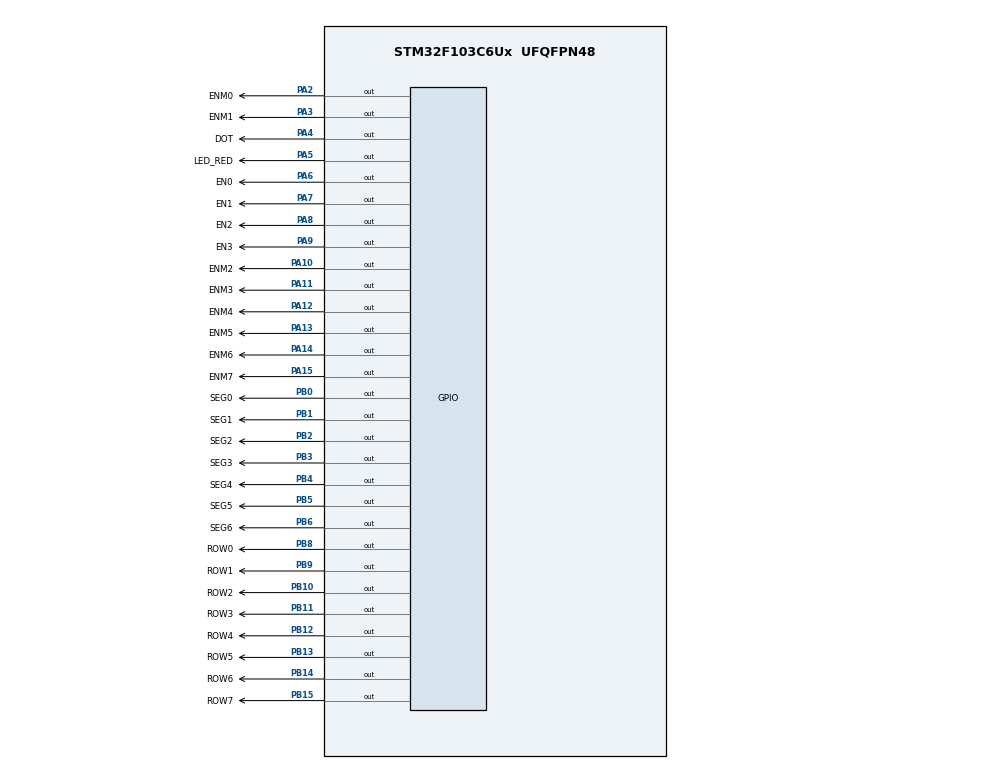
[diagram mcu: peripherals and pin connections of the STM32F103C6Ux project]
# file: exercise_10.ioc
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Mcu.Family=STM32F1
Mcu.Name=STM32F103C6Ux
Mcu.Package=UFQFPN48
NVIC.PriorityGroup=NVIC_PRIORITYGROUP_4
NVIC.TIM2_IRQn=true\:0\:0\:false\:false\:true\:true\:true
PA10.GPIO_Label=ENM2
PA10.Signal=GPIO_Output
PA11.GPIO_Label=ENM3
PA11.Signal=GPIO_Output
PA12.GPIO_Label=ENM4
PA12.Signal=GPIO_Output
PA13.GPIO_Label=ENM5
PA13.Signal=GPIO_Output
PA14.GPIO_Label=ENM6
PA14.Signal=GPIO_Output
PA15.GPIO_Label=ENM7
PA15.Signal=GPIO_Output
PA2.GPIO_Label=ENM0
PA2.Signal=GPIO_Output
PA3.GPIO_Label=ENM1
PA3.Signal=GPIO_Output
PA4.GPIO_Label=DOT
PA4.Signal=GPIO_Output
PA5.GPIO_Label=LED_RED
PA5.Signal=GPIO_Output
PA6.GPIO_Label=EN0
PA6.Signal=GPIO_Output
PA7.GPIO_Label=EN1
PA7.Signal=GPIO_Output
PA8.GPIO_Label=EN2
PA8.Signal=GPIO_Output
PA9.GPIO_Label=EN3
PA9.Signal=GPIO_Output
PB0.GPIO_Label=SEG0
PB0.Signal=GPIO_Output
PB1.GPIO_Label=SEG1
PB1.Signal=GPIO_Output
PB10.GPIO_Label=ROW2
PB10.Signal=GPIO_Output
PB11.GPIO_Label=ROW3
PB11.Signal=GPIO_Output
PB12.GPIO_Label=ROW4
PB12.Signal=GPIO_Output
PB13.GPIO_Label=ROW5
PB13.Signal=GPIO_Output
PB14.GPIO_Label=ROW6
PB14.Signal=GPIO_Output
PB15.GPIO_Label=ROW7
PB15.Signal=GPIO_Output
PB2.GPIO_Label=SEG2
PB2.Signal=GPIO_Output
PB3.GPIO_Label=SEG3
PB3.Signal=GPIO_Output
PB4.GPIO_Label=SEG4
PB4.Signal=GPIO_Output
PB5.GPIO_Label=SEG5
PB5.Signal=GPIO_Output
PB6.GPIO_Label=SEG6
PB6.Signal=GPIO_Output
PB8.GPIO_Label=ROW0
PB8.Signal=GPIO_Output
PB9.GPIO_Label=ROW1
PB9.Signal=GPIO_Output
ProjectManager.HeapSize=0x200
ProjectManager.StackSize=0x400
ProjectManager.TargetToolchain=STM32CubeIDE
RCC.APB1Freq_Value=8000000
RCC.APB2Freq_Value=8000000
TIM2.Period=9
TIM2.Prescaler=7999
VP_SYS_VS_ND.Mode=No_Debug
VP_TIM2_VS_ClockSourceINT.Mode=Internal
board=custom

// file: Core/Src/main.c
/* USER CODE BEGIN Header */
/**
  ******************************************************************************
  * @file           : main.c
  * @brief          : Main program body
  ******************************************************************************
  * @attention
  *
  * <h2><center>&copy; Copyright (c) 2025 STMicroelectronics.
  * All rights reserved.</center></h2>
  *
  * This software component is licensed by ST under BSD 3-Clause license,
  * the "License"; You may not use this file except in compliance with the
  * License. You may obtain a copy of the License at:
  *                        opensource.org/licenses/BSD-3-Clause
  *
  ******************************************************************************
  */
/* USER CODE END Header */
#include "main.h"

/* USER CODE BEGIN Includes */
#include "software_timer.h"
/* USER CODE END Includes */

TIM_HandleTypeDef htim2;

/* USER CODE BEGIN PV */
uint8_t led7seg_num_display[] = {
		/*0*/ 0x40,/*0b1000000*/
		/*1*/ 0x79,/*0b11111001*/
		/*2*/ 0x24,/*0b0100100*/
		/*3*/ 0x30,/*0b0110000*/
		/*4*/ 0x19,/*0b0011001*/
		/*5*/ 0x12,/*0b0010010*/
		/*6*/ 0x02,/*0b0000010*/
		/*7*/ 0x78,/*0b1111000*/
		/*8*/ 0x00,/*0b0000000*/
		/*9*/ 0x10/*0b0010000*/
};

//uint8_t matrix_buffer[8] = {
//   /*11100111*/ 0xC3, // ~0x3C /*11111111*/
//   /*11011011*/ 0xBD, // ~0x42 /*11000001*/
//   /*10111101*/ 0x7E, // ~0x81 /*10110111*/
//   /*10111101*/ 0x7E, // ~0x81 /*01110111*/
//   /*10000001*/ 0x00, // ~0xFF /*01110111*/
//   /*10111101*/ 0x7E, // ~0x81 /*10110111*/
//   /*10111101*/ 0x7E, // ~0x81 /*11000001*/
//   /*11111111*/ 0xFF  // ~0x00 /*11111111*/
//};
uint8_t matrix_buffer[8] = {
		0xFF,
		0xC1,
		0xB7,
		0x77,
		0x77,
		0xB7,
		0xC1,
		0xFF
};
//uint8_t matrix_buffer[8] = {
//  0x00, //00000000
//  0x00, //01111100
//  0x7C, //00010010
//  0x12, //00010001
//  0x11, //00010010
//  0x12, //01111100
//  0x7C, //00000000
//  0x00  //00000000
//};
int led_index = 0;
const int MAX_LED = 4;
int led_buffer[4] = {0};
int led_matrix_index = 0;
int scroll = 0;
/* USER CODE END PV */

void SystemClock_Config(void);
static void MX_TIM2_Init(void);
static void MX_GPIO_Init(void);
/* USER CODE BEGIN PFP */
void display7SEG(uint8_t num);
void update7SEG(uint8_t index);
void updateClockBuffer(int hour, int min);
void displayMatrix(uint8_t index);
void updateLEDMatrix (uint8_t index);
void shiftMatrixLeft();
void shift_left_matrix();
/* USER CODE END PFP */

int main(void)
{

  /* MCU Configuration--------------------------------------------------------*/

  /* Reset of all peripherals, Initializes the Flash interface and the Systick. */
  HAL_Init();

  /* Configure the system clock */
  SystemClock_Config();

  /* Initialize all configured peripherals */
  MX_TIM2_Init();
  MX_GPIO_Init();
  /* USER CODE BEGIN 2 */
  HAL_TIM_Base_Start_IT(&htim2);
  /* USER CODE END 2 */

  /* Infinite loop */
  /* USER CODE BEGIN WHILE */
  setTimer(0, 100); //LED_RED
  setTimer(1, 50); //7_SEG
  setTimer(2, 100); //2 LED
  setTimer(3, 5);
  setTimer(4, 100);
  int hour = 15, minute = 8, second = 50;
  while (1)
  {
	  if (isExpired(0) == 1){
		  setTimer(0, 100);
		  HAL_GPIO_TogglePin(LED_RED_GPIO_Port,LED_RED_Pin);
		  HAL_GPIO_TogglePin(DOT_GPIO_Port,DOT_Pin);
	  }
	  if (isExpired(1) == 1){
		  setTimer(1,  25);
		  update7SEG(led_index);
		  led_index = (led_index + 1) % MAX_LED;
	  }
	  if (isExpired(2) == 1){
		  setTimer(2, 1000);
		  second++;
		  if (second >= 60){
			  second = 0;
			  minute++;
		  }
		  if (minute >= 60){
			  minute = 0;
			  hour++;
		  }
		  if (hour >= 24){
			  hour = 0;
		  }
		  updateClockBuffer(hour, minute);
	  }
	  if (isExpired(3) == 1){
		  setTimer(3, 10);
		  updateLEDMatrix(led_matrix_index);
		  led_matrix_index = (led_matrix_index + 1) %8;
	  }
	  if (isExpired(4) == 1){
		  setTimer(4,100);
		  shiftMatrixLeft();
	  }

    /* USER CODE END WHILE */

  }
}

void SystemClock_Config(void)
{
  RCC_OscInitTypeDef RCC_OscInitStruct = {0};
  RCC_ClkInitTypeDef RCC_ClkInitStruct = {0};

  /** Initializes the RCC Oscillators according to the specified parameters
  * in the RCC_OscInitTypeDef structure.
  */
  RCC_OscInitStruct.OscillatorType = RCC_OSCILLATORTYPE_HSI;
  RCC_OscInitStruct.HSIState = RCC_HSI_ON;
  RCC_OscInitStruct.HSICalibrationValue = RCC_HSICALIBRATION_DEFAULT;
  RCC_OscInitStruct.PLL.PLLState = RCC_PLL_NONE;
  if (HAL_RCC_OscConfig(&RCC_OscInitStruct) != HAL_OK)
  {
    Error_Handler();
  }
  /** Initializes the CPU, AHB and APB buses clocks
  */
  RCC_ClkInitStruct.ClockType = RCC_CLOCKTYPE_HCLK|RCC_CLOCKTYPE_SYSCLK
                              |RCC_CLOCKTYPE_PCLK1|RCC_CLOCKTYPE_PCLK2;
  RCC_ClkInitStruct.SYSCLKSource = RCC_SYSCLKSOURCE_HSI;
  RCC_ClkInitStruct.AHBCLKDivider = RCC_SYSCLK_DIV1;
  RCC_ClkInitStruct.APB1CLKDivider = RCC_HCLK_DIV1;
  RCC_ClkInitStruct.APB2CLKDivider = RCC_HCLK_DIV1;

  if (HAL_RCC_ClockConfig(&RCC_ClkInitStruct, FLASH_LATENCY_0) != HAL_OK)
  {
    Error_Handler();
  }
}

static void MX_TIM2_Init(void)
{

  TIM_ClockConfigTypeDef sClockSourceConfig = {0};
  TIM_MasterConfigTypeDef sMasterConfig = {0};

  htim2.Instance = TIM2;
  htim2.Init.Prescaler = 799;
  htim2.Init.CounterMode = TIM_COUNTERMODE_UP;
  htim2.Init.Period = 9;
  htim2.Init.ClockDivision = TIM_CLOCKDIVISION_DIV1;
  htim2.Init.AutoReloadPreload = TIM_AUTORELOAD_PRELOAD_DISABLE;
  if (HAL_TIM_Base_Init(&htim2) != HAL_OK)
  {
    Error_Handler();
  }
  sClockSourceConfig.ClockSource = TIM_CLOCKSOURCE_INTERNAL;
  if (HAL_TIM_ConfigClockSource(&htim2, &sClockSourceConfig) != HAL_OK)
  {
    Error_Handler();
  }
  sMasterConfig.MasterOutputTrigger = TIM_TRGO_RESET;
  sMasterConfig.MasterSlaveMode = TIM_MASTERSLAVEMODE_DISABLE;
  if (HAL_TIMEx_MasterConfigSynchronization(&htim2, &sMasterConfig) != HAL_OK)
  {
    Error_Handler();
  }

}

static void MX_GPIO_Init(void)
{
  GPIO_InitTypeDef GPIO_InitStruct = {0};

  /* GPIO Ports Clock Enable */
  __HAL_RCC_GPIOA_CLK_ENABLE();
  __HAL_RCC_GPIOB_CLK_ENABLE();

  /*Configure GPIO pin Output Level */
  HAL_GPIO_WritePin(GPIOA, ENM0_Pin|ENM1_Pin|DOT_Pin|LED_RED_Pin
                          |EN0_Pin|EN1_Pin|EN2_Pin|EN3_Pin
                          |ENM2_Pin|ENM3_Pin|ENM4_Pin|ENM5_Pin
                          |ENM6_Pin|ENM7_Pin, GPIO_PIN_RESET);

  /*Configure GPIO pin Output Level */
  HAL_GPIO_WritePin(GPIOB, SEG0_Pin|SEG1_Pin|SEG2_Pin|ROW2_Pin
                          |ROW3_Pin|ROW4_Pin|ROW5_Pin|ROW6_Pin
                          |ROW7_Pin|SEG3_Pin|SEG4_Pin|SEG5_Pin
                          |SEG6_Pin|ROW0_Pin|ROW1_Pin, GPIO_PIN_RESET);

  /*Configure GPIO pins : ENM0_Pin ENM1_Pin DOT_Pin LED_RED_Pin
                           EN0_Pin EN1_Pin EN2_Pin EN3_Pin
                           ENM2_Pin ENM3_Pin ENM4_Pin ENM5_Pin
                           ENM6_Pin ENM7_Pin */
  GPIO_InitStruct.Pin = ENM0_Pin|ENM1_Pin|DOT_Pin|LED_RED_Pin
                          |EN0_Pin|EN1_Pin|EN2_Pin|EN3_Pin
                          |ENM2_Pin|ENM3_Pin|ENM4_Pin|ENM5_Pin
                          |ENM6_Pin|ENM7_Pin;
  GPIO_InitStruct.Mode = GPIO_MODE_OUTPUT_PP;
  GPIO_InitStruct.Pull = GPIO_NOPULL;
  GPIO_InitStruct.Speed = GPIO_SPEED_FREQ_LOW;
  HAL_GPIO_Init(GPIOA, &GPIO_InitStruct);

  /*Configure GPIO pins : SEG0_Pin SEG1_Pin SEG2_Pin ROW2_Pin
                           ROW3_Pin ROW4_Pin ROW5_Pin ROW6_Pin
                           ROW7_Pin SEG3_Pin SEG4_Pin SEG5_Pin
                           SEG6_Pin ROW0_Pin ROW1_Pin */
  GPIO_InitStruct.Pin = SEG0_Pin|SEG1_Pin|SEG2_Pin|ROW2_Pin
                          |ROW3_Pin|ROW4_Pin|ROW5_Pin|ROW6_Pin
                          |ROW7_Pin|SEG3_Pin|SEG4_Pin|SEG5_Pin
                          |SEG6_Pin|ROW0_Pin|ROW1_Pin;
  GPIO_InitStruct.Mode = GPIO_MODE_OUTPUT_PP;
  GPIO_InitStruct.Pull = GPIO_NOPULL;
  GPIO_InitStruct.Speed = GPIO_SPEED_FREQ_LOW;
  HAL_GPIO_Init(GPIOB, &GPIO_InitStruct);

}

/* USER CODE BEGIN 4 */
void HAL_TIM_PeriodElapsedCallback(TIM_HandleTypeDef *htim){
	timerRun();
}

void display7SEG(uint8_t num){
	HAL_GPIO_WritePin(SEG0_GPIO_Port, SEG0_Pin, !((~led7seg_num_display[num]) & (1 << 0)));
	HAL_GPIO_WritePin(SEG1_GPIO_Port, SEG1_Pin, !((~led7seg_num_display[num]) & (1 << 1)));
	HAL_GPIO_WritePin(SEG2_GPIO_Port, SEG2_Pin, !((~led7seg_num_display[num]) & (1 << 2)));
	HAL_GPIO_WritePin(SEG3_GPIO_Port, SEG3_Pin, !((~led7seg_num_display[num]) & (1 << 3)));
	HAL_GPIO_WritePin(SEG4_GPIO_Port, SEG4_Pin, !((~led7seg_num_display[num]) & (1 << 4)));
	HAL_GPIO_WritePin(SEG5_GPIO_Port, SEG5_Pin, !((~led7seg_num_display[num]) & (1 << 5)));
	HAL_GPIO_WritePin(SEG6_GPIO_Port, SEG6_Pin, !((~led7seg_num_display[num]) & (1 << 6)));
}

void update7SEG(uint8_t index){
	switch(index){
		case 0:
			display7SEG(led_buffer[0]);
			HAL_GPIO_WritePin(EN0_GPIO_Port, EN0_Pin, GPIO_PIN_RESET);
			HAL_GPIO_WritePin(EN1_GPIO_Port, EN1_Pin, GPIO_PIN_SET);
			HAL_GPIO_WritePin(EN2_GPIO_Port, EN2_Pin, GPIO_PIN_SET);
			HAL_GPIO_WritePin(EN3_GPIO_Port, EN3_Pin, GPIO_PIN_SET);
			break;
		case 1:
			display7SEG(led_buffer[1]);
			HAL_GPIO_WritePin(EN0_GPIO_Port, EN0_Pin, GPIO_PIN_SET);
			HAL_GPIO_WritePin(EN1_GPIO_Port, EN1_Pin, GPIO_PIN_RESET);
			HAL_GPIO_WritePin(EN2_GPIO_Port, EN2_Pin, GPIO_PIN_SET);
			HAL_GPIO_WritePin(EN3_GPIO_Port, EN3_Pin, GPIO_PIN_SET);
			break;
		case 2:
			display7SEG(led_buffer[2]);
			HAL_GPIO_WritePin(EN0_GPIO_Port, EN0_Pin, GPIO_PIN_SET);
			HAL_GPIO_WritePin(EN1_GPIO_Port, EN1_Pin, GPIO_PIN_SET);
			HAL_GPIO_WritePin(EN2_GPIO_Port, EN2_Pin, GPIO_PIN_RESET);
			HAL_GPIO_WritePin(EN3_GPIO_Port, EN3_Pin, GPIO_PIN_SET);
			break;
		case 3:
			display7SEG(led_buffer[3]);
			HAL_GPIO_WritePin(EN0_GPIO_Port, EN0_Pin, GPIO_PIN_SET);
			HAL_GPIO_WritePin(EN1_GPIO_Port, EN1_Pin, GPIO_PIN_SET);
			HAL_GPIO_WritePin(EN2_GPIO_Port, EN2_Pin, GPIO_PIN_SET);
			HAL_GPIO_WritePin(EN3_GPIO_Port, EN3_Pin, GPIO_PIN_RESET);
			break;
		default:
			break;
	}

}

void updateClockBuffer(int hour, int min){
	led_buffer[0] = hour / 10;
	led_buffer[1] = hour % 10;
	led_buffer[2] = min / 10;
	led_buffer[3] = min % 10;
}

void displayMatrix(uint8_t index){
	int data = matrix_buffer[index];
	HAL_GPIO_WritePin(ROW0_GPIO_Port, ROW0_Pin, (data & 0x01) ? GPIO_PIN_SET : GPIO_PIN_RESET);
	HAL_GPIO_WritePin(ROW1_GPIO_Port, ROW1_Pin, (data & 0x02) ? GPIO_PIN_SET : GPIO_PIN_RESET);
	HAL_GPIO_WritePin(ROW2_GPIO_Port, ROW2_Pin, (data & 0x04) ? GPIO_PIN_SET : GPIO_PIN_RESET);
	HAL_GPIO_WritePin(ROW3_GPIO_Port, ROW3_Pin, (data & 0x08) ? GPIO_PIN_SET : GPIO_PIN_RESET);
	HAL_GPIO_WritePin(ROW4_GPIO_Port, ROW4_Pin, (data & 0x10) ? GPIO_PIN_SET : GPIO_PIN_RESET);
	HAL_GPIO_WritePin(ROW5_GPIO_Port, ROW5_Pin, (data & 0x20) ? GPIO_PIN_SET : GPIO_PIN_RESET);
	HAL_GPIO_WritePin(ROW6_GPIO_Port, ROW6_Pin, (data & 0x40) ? GPIO_PIN_SET : GPIO_PIN_RESET);
	HAL_GPIO_WritePin(ROW7_GPIO_Port, ROW7_Pin, (data & 0x80) ? GPIO_PIN_SET : GPIO_PIN_RESET);
}

void updateLEDMatrix(uint8_t index){
	HAL_GPIO_WritePin(ENM0_GPIO_Port, ENM0_Pin|ENM1_Pin|ENM2_Pin|
			ENM3_Pin|ENM4_Pin|ENM5_Pin|ENM6_Pin|ENM7_Pin, GPIO_PIN_SET);
	displayMatrix(index);
	switch (index){
		case 0:
			HAL_GPIO_WritePin(ENM0_GPIO_Port, ENM0_Pin, GPIO_PIN_RESET);
			break;
		case 1:
			HAL_GPIO_WritePin(ENM1_GPIO_Port, ENM1_Pin, GPIO_PIN_RESET);
			break;
		case 2:
			HAL_GPIO_WritePin(ENM2_GPIO_Port, ENM2_Pin, GPIO_PIN_RESET);
			break;
		case 3:
			HAL_GPIO_WritePin(ENM3_GPIO_Port, ENM3_Pin, GPIO_PIN_RESET);
			break;
		case 4:
			HAL_GPIO_WritePin(ENM4_GPIO_Port, ENM4_Pin, GPIO_PIN_RESET);
			break;
		case 5:
			HAL_GPIO_WritePin(ENM5_GPIO_Port, ENM5_Pin, GPIO_PIN_RESET);
			break;
		case 6:
			HAL_GPIO_WritePin(ENM6_GPIO_Port, ENM6_Pin, GPIO_PIN_RESET);
			break;
		case 7:
			HAL_GPIO_WritePin(ENM7_GPIO_Port, ENM7_Pin, GPIO_PIN_RESET);
			break;
		default:
			break;
	}
}
void shiftMatrixLeft() {
	uint8_t temp_col = matrix_buffer[0];
    for (int i = 0; i < 7; i++) {
        matrix_buffer[i] = matrix_buffer[i+1];
    }
    matrix_buffer[7] = temp_col;
}

/* USER CODE END 4 */

void Error_Handler(void)
{
  __disable_irq();
  while (1)
  {
  }
}

/************************ (C) COPYRIGHT STMicroelectronics *****END OF FILE****/
